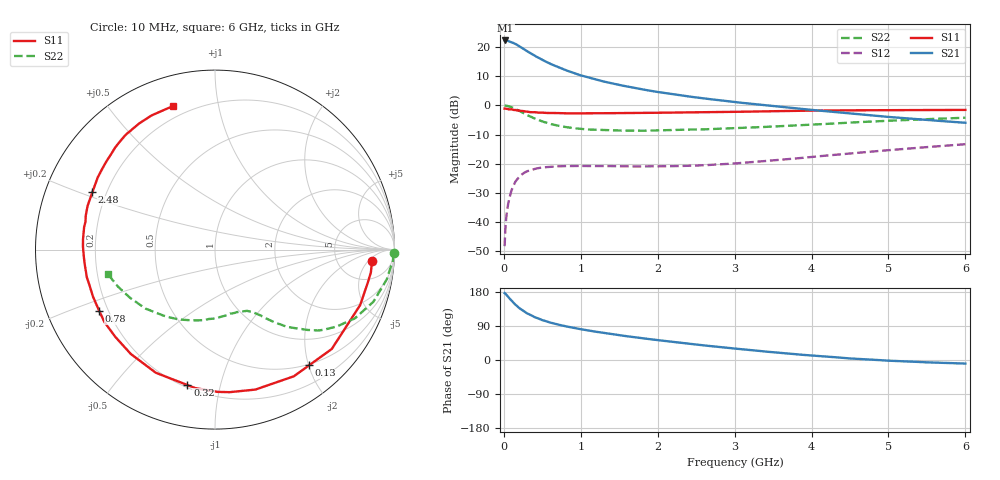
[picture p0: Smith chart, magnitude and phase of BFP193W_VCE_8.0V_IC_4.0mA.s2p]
! Infineon Technologies  Discrete & RF Semiconductors
! BFP193W
! VCE = 8.0 V,  IC =  4.0 mA
! Common Emitter S-Parameters:  Jan 2016
# GHz  S  MA  R  50
!  f  S11  S21  S12  S22
! GHz  MAG  ANG  MAG  ANG  MAG  ANG  MAG  ANG
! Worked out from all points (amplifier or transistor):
!   210 points, 10 MHz to 6 GHz, reference 50 ohm
!   highest |S21| = 22.2 dB at 20 MHz (marker M1)
!   |S21| within 3 dB of that: start of sweep to 263 MHz
!   unconditionally stable (mu >= 1): 1.823 GHz to 4.468 GHz
!   at 185 MHz: K = 0.12, MSG = 22.7 dB, |S12| = -24.9 dB
!   at 1.52 GHz: K = 0.85, MSG = 13.9 dB, |S12| = -20.9 dB
!   at 6 GHz: K = 0.92, MSG = 3.7 dB, |S12| = -13.3 dB
!   S11 on the Smith chart (normalised r, x): 10 MHz: 12, -6; 130 MHz: 0.48, -2.01; 320 MHz: 0.21, -0.79; 780 MHz: 0.17, -0.24; 2.48 GHz: 0.15, +0.22; 6 GHz: 0.14, +0.74
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0.01  0.8776 -4.1  12.77 176.6  0.0039 87.7  0.9953 -1.2
0.02  0.8776 -8.4  12.82 175.1  0.0078 84.1  0.9926 -4.1
0.05  0.8658 -20.9  12.66 167.9  0.0185 78.5  0.9721 -9.7
0.1  0.8543 -40.4  12.01 156.5  0.0351 68.9  0.9288 -18.3
0.13  0.8309 -50.9  11.48 150.4  0.0436 62.9  0.8904 -22.9
0.15  0.8314 -58.1  11.21 146.0  0.0494 60.1  0.8683 -26.2
0.2  0.8117 -73.9  10.23 137.1  0.0598 52.8  0.8021 -32.3
0.26  0.7928 -89.0  9.132 128.7  0.0694 45.4  0.7291 -38.2
0.3  0.7794 -98.1  8.439 123.3  0.0743 41.7  0.6823 -41.0
0.32  0.77 -101.5  8.14 121.5  0.0757 40.0  0.6636 -42.0
0.4  0.7613 -115.7  7.037 113.1  0.0819 33.7  0.5914 -46.8
0.5  0.7471 -128.9  5.965 105.2  0.0865 29.0  0.5276 -50.5
0.6  0.7382 -138.8  5.132 98.9  0.0887 25.1  0.4812 -53.2
0.78  0.7297 -152.1  4.097 90.0  0.091 21.2  0.4294 -56.7
1.02  0.727 -164.3  3.193 80.6  0.0917 18.4  0.3925 -61.3
1.4  0.7329 -178.4  2.374 68.4  0.0911 17.5  0.3729 -68.4
2.02  0.7451 164.8  1.673 52.0  0.0906 22.1  0.3726 -81.3
2.48  0.7544 155.0  1.371 41.3  0.093 27.3  0.3851 -91.8
3.1  0.7753 142.9  1.099 28.3  0.1035 34.5  0.4103 -106.2
4.1  0.8115 126.4  0.811 10.4  0.1345 40.9  0.4733 -130.5
5.1  0.8267 114.4  0.617 -2.6  0.1751 40.4  0.5502 -152.3
6  0.8331 106.2  0.502 -9.4  0.2159 37.1  0.6123 -167.1
